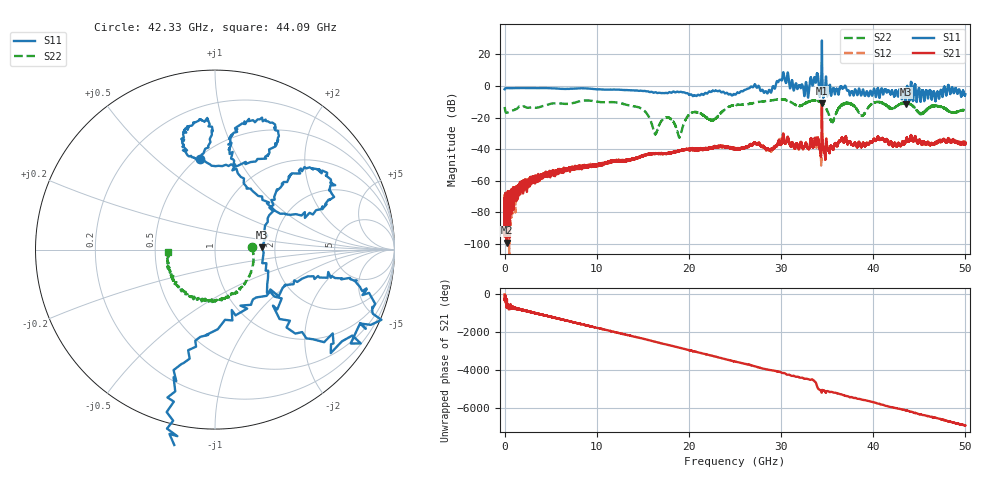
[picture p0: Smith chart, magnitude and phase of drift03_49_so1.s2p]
!Created with skrf (http://scikit-rf.org).
# Hz S RI R 50.0
!freq ReS11 ImS11 ReS21 ImS21 ReS12 ImS12 ReS22 ImS22
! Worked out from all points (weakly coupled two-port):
!   10000 points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, 5.3 MHz to 50 GHz, reference 50 ohm
!   highest |S21| = -10.86 dB at 34.43 GHz (marker M1); lowest = -99.1 dB at 235.3 MHz (marker M2)
!   lowest |S11| = -11.6 dB at 43.52 GHz (marker M3), VSWR 1.71, Z = 85.3 + j2.41 ohm
!   |S11| at or under -10 dB: 43.48844 GHz to 43.54406 GHz (55.62 MHz wide, 0.128 % of centre); 44.70731 GHz to 44.71129 GHz (3.978 MHz wide, 0.0089 % of centre)
!   |S22| runs from -32.6 to -8.4 dB; largest |S21 - S12| = 0.085
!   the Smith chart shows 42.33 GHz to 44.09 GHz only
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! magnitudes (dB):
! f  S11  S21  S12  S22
! 5.3 MHz  -2.1  -73.5  -78.7  -13.3
! 235.3 MHz  -1.4  -99.1  -73.5  -17.0
! 2.755 GHz  -1.4  -58.8  -60.7  -13.7
! 8.34 GHz  -1.5  -50.9  -51.3  -9.5
! 14.57 GHz  -3.1  -45.2  -45.2  -13.6
! 16.67 GHz  -4.4  -42.9  -43.0  -26.2
! 17.8 GHz  -4.2  -42.6  -42.6  -20.0
! 18.99 GHz  -3.9  -41.2  -41.0  -32.6
! 20.29 GHz  -5.5  -40.0  -39.9  -17.1
! 22.61 GHz  -3.0  -39.3  -39.2  -21.7
! 25.01 GHz  -5.5  -40.0  -40.0  -12.1
! 28.72 GHz  -2.5  -40.4  -40.4  -9.3
! 30.14 GHz  4.4  -33.9  -33.8  -8.5
! 32.74 GHz  2.0  -37.1  -36.5  -10.7
! 33.34 GHz  2.5  -35.1  -35.0  -9.4
! 34.43 GHz  28.7  -10.9  -12.5  -10.8
! 35.54 GHz  -3.1  -38.8  -39.0  -23.0
! 37 GHz  -0.1  -32.7  -32.7  -10.7
! 38.78 GHz  -4.9  -38.2  -37.9  -18.9
! 41.67 GHz  -2.9  -37.0  -36.9  -13.0
! 43.52 GHz  -11.6  -34.9  -35.1  -10.7
! 50 GHz  -5.3  -35.8  -37.0  -15.5
